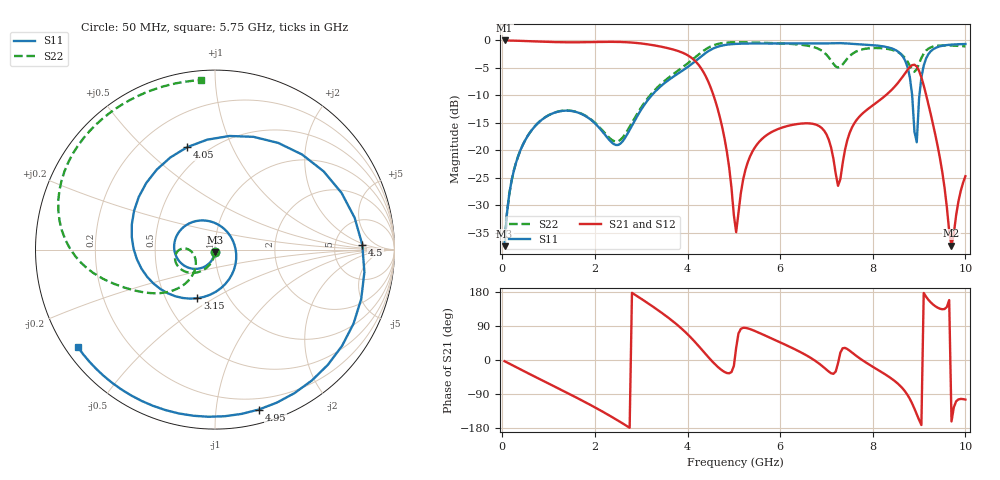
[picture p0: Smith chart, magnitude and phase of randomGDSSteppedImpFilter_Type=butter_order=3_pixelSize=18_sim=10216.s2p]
! freq	dB(S11)	phase(S11)	dB(S12)	phase(S12)
!  dB(S21)	phase(S21)	dB(S22)	phase(S22)
!S-par simulation data
#  GHz  S  DB  R 50
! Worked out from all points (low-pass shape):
!   200 points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, 50 MHz to 10 GHz, reference 50 ohm
!   highest |S21| = -0.01 dB at 50 MHz (marker M1); lowest = -37.4 dB at 9.7 GHz (marker M2)
!   |S21| within 3 dB of the highest: start of sweep to 4.058 GHz
!   lowest |S11| = -37.5 dB at 50 MHz (marker M3), VSWR 1.03, Z = 49.9 - j1.33 ohm
!   |S11| at or under -10 dB: start of sweep to 3.228 GHz; 8.85 GHz to 9.007 GHz (156.9 MHz wide, 1.76 % of centre)
!   |S22| runs from -37.5 to -0.3 dB; largest |S21 - S12| = 0
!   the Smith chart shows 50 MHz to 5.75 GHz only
!   S11 on the Smith chart (normalised r, x): 50 MHz: 1.00, -0.03; 3.15 GHz: 0.72, -0.42; 4.05 GHz: 0.39, +0.69; 4.5 GHz: 10, +2; 4.95 GHz: 0.11, -1.31; 5.75 GHz: 0.04, -0.32
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0.05  -37.49 -92.5  -0.01 -3.2  -0.01 -3.2  -37.48 -91.7
0.55  -17.38 -129.1  -0.13 -34.5  -0.13 -34.5  -17.37 -120.9
1.75  -13.56 139.0  -0.33 -108.7  -0.33 -108.7  -13.51 -176.7
2.5  -19.05 15.2  -0.27 -160.0  -0.27 -160.0  -18.38 -155.5
3.15  -10.80 -110.0  -0.73 149.4  -0.73 149.4  -10.44 -133.9
3.4  -8.52 -144.1  -1.09 128.2  -1.09 128.2  -8.15 -141.7
4.05  -4.56 105.1  -2.96 62.0  -2.96 62.0  -3.88 -165.0
4.5  -1.71 1.9  -8.59 0.7  -8.59 0.7  -1.10 169.6
4.95  -0.69 -74.6  -26.94 -31.6  -26.94 -31.6  -0.35 139.6
5.05  -0.63 -86.7  -34.94 32.0  -34.94 32.0  -0.34 133.6
5.3  -0.57 -111.6  -22.21 83.5  -22.21 83.5  -0.37 119.6
5.75  -0.56 -144.7  -17.02 60.5  -17.02 60.5  -0.47 94.9
6.7  -0.57 166.6  -15.19 2.5  -15.19 2.5  -1.16 22.9
7.1  -0.51 149.2  -19.51 -34.9  -19.51 -34.9  -3.66 -64.2
7.35  -0.52 137.7  -22.36 31.0  -22.36 31.0  -4.37 174.3
7.65  -0.67 124.4  -14.50 10.4  -14.50 10.4  -1.99 89.7
8.35  -1.31 89.4  -9.48 -44.5  -9.48 -44.5  -1.60 14.2
8.75  -4.83 51.2  -5.39 -92.1  -5.39 -92.1  -3.84 -16.1
8.95  -18.56 131.0  -4.76 -143.4  -4.76 -143.4  -5.25 -3.7
9.15  -3.31 122.2  -9.85 167.2  -9.85 167.2  -1.86 -12.0
9.7  -0.76 75.6  -37.41 -162.3  -37.41 -162.3  -0.93 -58.6
10  -0.66 61.1  -24.73 -104.4  -24.73 -104.4  -1.08 -80.4
